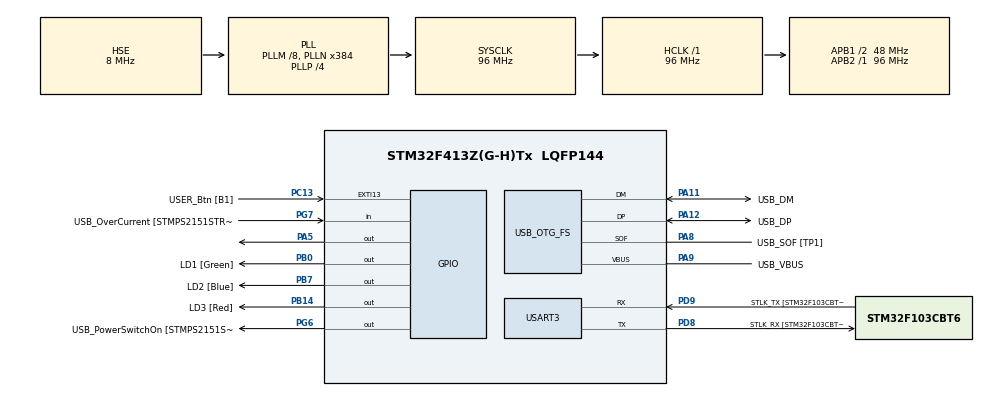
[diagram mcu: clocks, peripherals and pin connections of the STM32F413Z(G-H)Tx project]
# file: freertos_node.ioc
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FREERTOS.Tasks01=defaultTask,24,512,StartDefaultTask,Default,NULL,Dynamic,NULL,NULL
Mcu.Family=STM32F4
Mcu.Name=STM32F413Z(G-H)Tx
Mcu.Package=LQFP144
NVIC.PriorityGroup=NVIC_PRIORITYGROUP_4
PA10.GPIO_Label=USB_ID
PA10.Signal=USB_OTG_FS_ID
PA11.GPIO_Label=USB_DM
PA11.Mode=Device_Only
PA11.Signal=USB_OTG_FS_DM
PA12.GPIO_Label=USB_DP
PA12.Mode=Device_Only
PA12.Signal=USB_OTG_FS_DP
PA13.GPIO_Label=TMS
PA13.Mode=Serial_Wire
PA13.Signal=SYS_JTMS-SWDIO
PA14.GPIO_Label=TCK
PA14.Mode=Serial_Wire
PA14.Signal=SYS_JTCK-SWCLK
PA5.Signal=GPIO_Output
PA8.GPIO_Label=USB_SOF [TP1]
PA8.Mode=Activate_SOF_FS
PA8.Signal=USB_OTG_FS_SOF
PA9.GPIO_Label=USB_VBUS
PA9.Mode=Activate_VBUS
PA9.Signal=USB_OTG_FS_VBUS
PB0.GPIO_Label=LD1 [Green]
PB0.Signal=GPIO_Output
PB14.GPIO_Label=LD3 [Red]
PB14.Signal=GPIO_Output
PB3.GPIO_Label=SWO
PB3.Signal=SYS_JTDO-SWO
PB7.GPIO_Label=LD2 [Blue]
PB7.Signal=GPIO_Output
PC13.GPIO_Label=USER_Btn [B1]
PC13.Signal=GPXTI13
PC14-OSC32_IN.Mode=LSE-External-Oscillator
PC14-OSC32_IN.Signal=RCC_OSC32_IN
PC15-OSC32_OUT.Mode=LSE-External-Oscillator
PC15-OSC32_OUT.Signal=RCC_OSC32_OUT
PD8.GPIO_Label=STLK_RX [STM32F103CBT6_PA3]
PD8.Mode=Asynchronous
PD8.Signal=USART3_TX
PD9.GPIO_Label=STLK_TX [STM32F103CBT6_PA2]
PD9.Mode=Asynchronous
PD9.Signal=USART3_RX
PG6.GPIO_Label=USB_PowerSwitchOn [STMPS2151STR_EN]
PG6.Signal=GPIO_Output
PG7.GPIO_Label=USB_OverCurrent [STMPS2151STR_FAULT]
PG7.Signal=GPIO_Input
PH0\ -\ OSC_IN.GPIO_Label=MCO
PH0\ -\ OSC_IN.Mode=HSE-External-Clock-Source
PH0\ -\ OSC_IN.Signal=RCC_OSC_IN
PH1\ -\ OSC_OUT.Mode=HSE-External-Clock-Source
PH1\ -\ OSC_OUT.Signal=RCC_OSC_OUT
ProjectManager.HeapSize=0x200
ProjectManager.StackSize=0x400
ProjectManager.TargetToolchain=STM32CubeIDE
RCC.48MHZClocksFreq_Value=24000000
RCC.AHBFreq_Value=96000000
RCC.APB1CLKDivider=RCC_HCLK_DIV2
RCC.APB1Freq_Value=48000000
RCC.APB1TimFreq_Value=96000000
RCC.APB2Freq_Value=96000000
RCC.APB2TimFreq_Value=96000000
RCC.CortexFreq_Value=96000000
RCC.HCLKFreq_Value=96000000
RCC.HSE_VALUE=8000000
RCC.HSI_VALUE=16000000
RCC.PLLM=8
RCC.PLLMUL=RCC_PLL_MUL9
RCC.PLLN=384
RCC.PLLP=RCC_PLLP_DIV4
RCC.PLLQ=8
RCC.PRESCALERUSB=RCC_USBCLKSOURCE_PLL_DIV1_5
RCC.SYSCLKFreq_VALUE=96000000
RCC.SYSCLKSource=RCC_SYSCLKSOURCE_PLLCLK
RCC.SYSCLKSourceVirtual=RCC_SYSCLKSOURCE_PLLCLK
RCC.USBFreq_Value=48000000
RCC.VCOOutputFreq_Value=384000000
USART3.VirtualMode=VM_ASYNC
USB_OTG_FS.VirtualMode=Device_Only
VP_FREERTOS_VS_CMSIS_V2.Mode=CMSIS_V2
board=NUCLEO-F413ZH

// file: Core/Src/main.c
/* USER CODE BEGIN Header */
/**
  ******************************************************************************
  * @file           : main.c
  * @brief          : Main program body
  ******************************************************************************
  * @attention
  *
  * Copyright (c) 2026 STMicroelectronics.
  * All rights reserved.
  *
  * This software is licensed under terms that can be found in the LICENSE file
  * in the root directory of this software component.
  * If no LICENSE file comes with this software, it is provided AS-IS.
  *
  ******************************************************************************
  */
/* USER CODE END Header */
#include "main.h"
#include "cmsis_os.h"
#include <stdio.h>
#include <string.h>

/* USER CODE BEGIN PTD */
typedef struct
{
    char text[64];
} log_msg_t;
/* USER CODE END PTD */

UART_HandleTypeDef huart3;

PCD_HandleTypeDef hpcd_USB_OTG_FS;

/* Definitions for defaultTask */
osThreadId_t defaultTaskHandle;
const osThreadAttr_t defaultTask_attributes = {
  .name = "defaultTask",
  .stack_size = 512 * 4,
  .priority = (osPriority_t) osPriorityNormal,
};
/* USER CODE BEGIN PV */
osThreadId_t ledTaskHandle;
osThreadId_t logTaskHandle;
osMessageQueueId_t logQueueHandle;
/* USER CODE END PV */

void SystemClock_Config(void);
static void MX_GPIO_Init(void);
static void MX_USART3_UART_Init(void);
static void MX_USB_OTG_FS_PCD_Init(void);
void StartDefaultTask(void *argument);

/* USER CODE BEGIN PFP */
void StartLedTask(void *argument);
void StartLogTask(void *argument);
/* USER CODE END PFP */

int main(void)
{

  /* MCU Configuration--------------------------------------------------------*/

  /* Reset of all peripherals, Initializes the Flash interface and the Systick. */
  HAL_Init();

  /* Configure the system clock */
  SystemClock_Config();

  /* Initialize all configured peripherals */
  MX_GPIO_Init();
  MX_USART3_UART_Init();
  MX_USB_OTG_FS_PCD_Init();

  /* Init scheduler */
  osKernelInitialize();

  /* USER CODE BEGIN RTOS_QUEUES */
  logQueueHandle = osMessageQueueNew(8, sizeof(log_msg_t), NULL);
  /* USER CODE END RTOS_QUEUES */

  /* Create the thread(s) */
  /* creation of defaultTask */
  //defaultTaskHandle = osThreadNew(StartDefaultTask, NULL, &defaultTask_attributes);

  /* USER CODE BEGIN RTOS_THREADS */
  const osThreadAttr_t ledTask_attributes = {
      .name = "ledTask",
      .stack_size = 256 * 4,
      .priority = (osPriority_t) osPriorityNormal,
    };

    const osThreadAttr_t logTask_attributes = {
      .name = "logTask",
      .stack_size = 256 * 4,
      .priority = (osPriority_t) osPriorityLow,
    };

    ledTaskHandle = osThreadNew(StartLedTask, NULL, &ledTask_attributes);
    logTaskHandle = osThreadNew(StartLogTask, NULL, &logTask_attributes);
  /* USER CODE END RTOS_THREADS */

  /* Start scheduler */
  osKernelStart();

  /* We should never get here as control is now taken by the scheduler */

  /* Infinite loop */
  while (1)
  {

  }
}

void SystemClock_Config(void)
{
  RCC_OscInitTypeDef RCC_OscInitStruct = {0};
  RCC_ClkInitTypeDef RCC_ClkInitStruct = {0};

  /** Configure the main internal regulator output voltage
  */
  __HAL_RCC_PWR_CLK_ENABLE();
  __HAL_PWR_VOLTAGESCALING_CONFIG(PWR_REGULATOR_VOLTAGE_SCALE1);

  /** Initializes the RCC Oscillators according to the specified parameters
  * in the RCC_OscInitTypeDef structure.
  */
  RCC_OscInitStruct.OscillatorType = RCC_OSCILLATORTYPE_HSE;
  RCC_OscInitStruct.HSEState = RCC_HSE_BYPASS;
  RCC_OscInitStruct.PLL.PLLState = RCC_PLL_ON;
  RCC_OscInitStruct.PLL.PLLSource = RCC_PLLSOURCE_HSE;
  RCC_OscInitStruct.PLL.PLLM = 8;
  RCC_OscInitStruct.PLL.PLLN = 384;
  RCC_OscInitStruct.PLL.PLLP = RCC_PLLP_DIV4;
  RCC_OscInitStruct.PLL.PLLQ = 8;
  RCC_OscInitStruct.PLL.PLLR = 2;
  if (HAL_RCC_OscConfig(&RCC_OscInitStruct) != HAL_OK)
  {
    Error_Handler();
  }

  /** Initializes the CPU, AHB and APB buses clocks
  */
  RCC_ClkInitStruct.ClockType = RCC_CLOCKTYPE_HCLK|RCC_CLOCKTYPE_SYSCLK
                              |RCC_CLOCKTYPE_PCLK1|RCC_CLOCKTYPE_PCLK2;
  RCC_ClkInitStruct.SYSCLKSource = RCC_SYSCLKSOURCE_PLLCLK;
  RCC_ClkInitStruct.AHBCLKDivider = RCC_SYSCLK_DIV1;
  RCC_ClkInitStruct.APB1CLKDivider = RCC_HCLK_DIV2;
  RCC_ClkInitStruct.APB2CLKDivider = RCC_HCLK_DIV1;

  if (HAL_RCC_ClockConfig(&RCC_ClkInitStruct, FLASH_LATENCY_3) != HAL_OK)
  {
    Error_Handler();
  }
}

static void MX_USART3_UART_Init(void)
{

  huart3.Instance = USART3;
  huart3.Init.BaudRate = 115200;
  huart3.Init.WordLength = UART_WORDLENGTH_8B;
  huart3.Init.StopBits = UART_STOPBITS_1;
  huart3.Init.Parity = UART_PARITY_NONE;
  huart3.Init.Mode = UART_MODE_TX_RX;
  huart3.Init.HwFlowCtl = UART_HWCONTROL_NONE;
  huart3.Init.OverSampling = UART_OVERSAMPLING_16;
  if (HAL_UART_Init(&huart3) != HAL_OK)
  {
    Error_Handler();
  }

}

static void MX_USB_OTG_FS_PCD_Init(void)
{

  hpcd_USB_OTG_FS.Instance = USB_OTG_FS;
  hpcd_USB_OTG_FS.Init.dev_endpoints = 6;
  hpcd_USB_OTG_FS.Init.speed = PCD_SPEED_FULL;
  hpcd_USB_OTG_FS.Init.dma_enable = DISABLE;
  hpcd_USB_OTG_FS.Init.phy_itface = PCD_PHY_EMBEDDED;
  hpcd_USB_OTG_FS.Init.Sof_enable = ENABLE;
  hpcd_USB_OTG_FS.Init.low_power_enable = DISABLE;
  hpcd_USB_OTG_FS.Init.lpm_enable = DISABLE;
  hpcd_USB_OTG_FS.Init.battery_charging_enable = ENABLE;
  hpcd_USB_OTG_FS.Init.vbus_sensing_enable = ENABLE;
  hpcd_USB_OTG_FS.Init.use_dedicated_ep1 = DISABLE;
  if (HAL_PCD_Init(&hpcd_USB_OTG_FS) != HAL_OK)
  {
    Error_Handler();
  }

}

static void MX_GPIO_Init(void)
{
  GPIO_InitTypeDef GPIO_InitStruct = {0};

  /* GPIO Ports Clock Enable */
  __HAL_RCC_GPIOC_CLK_ENABLE();
  __HAL_RCC_GPIOH_CLK_ENABLE();
  __HAL_RCC_GPIOA_CLK_ENABLE();
  __HAL_RCC_GPIOB_CLK_ENABLE();
  __HAL_RCC_GPIOD_CLK_ENABLE();
  __HAL_RCC_GPIOG_CLK_ENABLE();

  /*Configure GPIO pin Output Level */
  HAL_GPIO_WritePin(GPIOA, GPIO_PIN_5, GPIO_PIN_RESET);

  /*Configure GPIO pin Output Level */
  HAL_GPIO_WritePin(GPIOB, LD1_Pin|LD3_Pin|LD2_Pin, GPIO_PIN_RESET);

  /*Configure GPIO pin Output Level */
  HAL_GPIO_WritePin(USB_PowerSwitchOn_GPIO_Port, USB_PowerSwitchOn_Pin, GPIO_PIN_RESET);

  /*Configure GPIO pin : USER_Btn_Pin */
  GPIO_InitStruct.Pin = USER_Btn_Pin;
  GPIO_InitStruct.Mode = GPIO_MODE_IT_RISING;
  GPIO_InitStruct.Pull = GPIO_NOPULL;
  HAL_GPIO_Init(USER_Btn_GPIO_Port, &GPIO_InitStruct);

  /*Configure GPIO pin : PA5 */
  GPIO_InitStruct.Pin = GPIO_PIN_5;
  GPIO_InitStruct.Mode = GPIO_MODE_OUTPUT_PP;
  GPIO_InitStruct.Pull = GPIO_NOPULL;
  GPIO_InitStruct.Speed = GPIO_SPEED_FREQ_LOW;
  HAL_GPIO_Init(GPIOA, &GPIO_InitStruct);

  /*Configure GPIO pins : LD1_Pin LD3_Pin LD2_Pin */
  GPIO_InitStruct.Pin = LD1_Pin|LD3_Pin|LD2_Pin;
  GPIO_InitStruct.Mode = GPIO_MODE_OUTPUT_PP;
  GPIO_InitStruct.Pull = GPIO_NOPULL;
  GPIO_InitStruct.Speed = GPIO_SPEED_FREQ_LOW;
  HAL_GPIO_Init(GPIOB, &GPIO_InitStruct);

  /*Configure GPIO pin : USB_PowerSwitchOn_Pin */
  GPIO_InitStruct.Pin = USB_PowerSwitchOn_Pin;
  GPIO_InitStruct.Mode = GPIO_MODE_OUTPUT_PP;
  GPIO_InitStruct.Pull = GPIO_NOPULL;
  GPIO_InitStruct.Speed = GPIO_SPEED_FREQ_LOW;
  HAL_GPIO_Init(USB_PowerSwitchOn_GPIO_Port, &GPIO_InitStruct);

  /*Configure GPIO pin : USB_OverCurrent_Pin */
  GPIO_InitStruct.Pin = USB_OverCurrent_Pin;
  GPIO_InitStruct.Mode = GPIO_MODE_INPUT;
  GPIO_InitStruct.Pull = GPIO_NOPULL;
  HAL_GPIO_Init(USB_OverCurrent_GPIO_Port, &GPIO_InitStruct);

}

/* USER CODE BEGIN 4 */
int _write(int file, char *ptr, int len)
{
    HAL_UART_Transmit(&huart3, (uint8_t *)ptr, len, HAL_MAX_DELAY);
    return len;
}
/* USER CODE END 4 */

void StartDefaultTask(void *argument)
{
  /* USER CODE BEGIN 5 */
  /* Infinite loop */
	printf("FreeRTOS default task started.\r\n");

	  for(;;)
	  {
	    HAL_GPIO_TogglePin(LD2_GPIO_Port, LD2_Pin);
	    printf("Hello FreeRTOS! tick=%lu\r\n", HAL_GetTick());
	    osDelay(1000);
	  }
  /* USER CODE END 5 */
}

void StartLedTask(void *argument)
{
  log_msg_t msg;

  snprintf(msg.text, sizeof(msg.text), "ledTask started.\r\n");
  osMessageQueuePut(logQueueHandle, &msg, 0, 0);

  for(;;)
  {
    HAL_GPIO_TogglePin(LD2_GPIO_Port, LD2_Pin);

    snprintf(msg.text, sizeof(msg.text), "LED toggled, tick=%lu\r\n", HAL_GetTick());
    osMessageQueuePut(logQueueHandle, &msg, 0, 0);

    osDelay(1000);
  }
}

void StartLogTask(void *argument)
{
  log_msg_t msg;

  printf("logTask started.\r\n");

  for(;;)
  {
    if (osMessageQueueGet(logQueueHandle, &msg, NULL, osWaitForever) == osOK)
    {
      printf("%s", msg.text);
    }
  }
}

void Error_Handler(void)
{
  __disable_irq();
  while (1)
  {
  }
}
